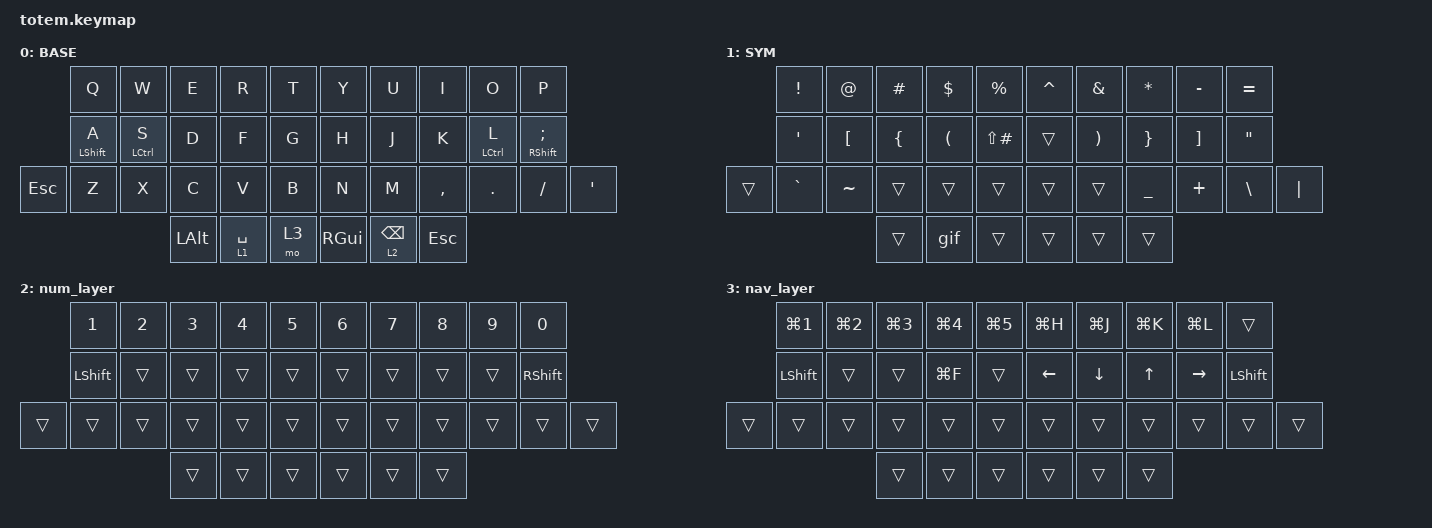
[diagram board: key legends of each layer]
//
//                                                        ▀▀▀▀▀     ▀▀▀▀▀          ▀▀█▀▀
//                                                        ▄▀▀▀▄  ▄  ▄▀▀▀▄  ▄  ▄▀▀▀▄  █  ▄▀▀▀▄
//                                                        █   █  █  █   █  █  █   █  █  █   █
//                                                         ▀▀▀   █   ▀▀▀   █   ▀▀▀   ▀   ▀▀▀
//                                                               █      ▄▄▄█▄▄▄    █   █  
//                                                               ▀      █  █  █     █▄█
//                                                             ▀▀▀▀▀    █  █  █      ▀
//                                                                      ▀  ▀  ▀
//
// ▄▄▄▄▄▄▄▄▄▄▄▄▄▄▄▄▄▄▄▄▄▄▄▄▄▄▄▄▄▄▄▄▄▄▄▄▄▄▄▄▄▄▄▄▄▄▄▄▄▄▄▄▄▄▄▄▄▄▄▄▄▄▄▄▄▄▄▄▄▄▄▄▄▄▄▄▄▄▄▄▄▄▄▄▄▄▄▄▄▄▄▄▄▄▄▄▄▄▄▄▄▄▄▄▄▄▄▄▄▄▄▄▄▄▄▄▄▄▄▄▄▄▄▄▄▄▄▄▄▄▄▄▄▄▄▄▄▄▄▄▄▄▄▄▄▄▄▄▄

#include <behaviors.dtsi>
#include <dt-bindings/zmk/keys.h>

#define BASE 0
#define NAV  1
#define SYM  2
#define ADJ  3
#define TVP1 4
#define TVP2 5

&mt {
    quick-tap-ms = <100>;
    global-quick-tap;
    flavor = "tap-preferred";
    tapping-term-ms = <170>;
};

/ {
    combos {
        compatible = "zmk,combos";

        combo_esc {
            timeout-ms = <50>;
            key-positions = <0 1>;
            bindings = <&kp ESC>;
        };

        return {
            bindings = <&kp RETURN>;
            key-positions = <17 18>;
        };

        backspace {
            bindings = <&kp BACKSPACE>;
            key-positions = <7 8>;
        };

        tab {
            bindings = <&kp TAB>;
            key-positions = <1 2>;
        };
    };

    macros {
        gif: gif {
            label = "giphy";
            compatible = "zmk,behavior-macro";
            #binding-cells = <0>;
            bindings =
                <&macro_press>,
                <&kp LSHFT>,
                <&macro_tap>,
                <&kp N2>,
                <&macro_release>,
                <&kp LSHFT>,
                <&macro_tap>,
                <&kp G &kp I &kp F>;
        };
    };

    keymap {
        compatible = "zmk,keymap";

        // ▄▄▄▄▄▄▄▄▄▄▄▄▄▄▄▄▄▄▄▄▄▄▄▄▄▄▄▄▄▄▄▄▄▄▄▄▄▄▄▄▄▄▄▄▄▄▄▄▄▄▄▄▄▄▄▄▄▄▄▄▄▄▄▄▄▄▄▄▄▄▄▄▄▄▄▄▄▄▄▄▄▄▄▄▄▄▄▄▄▄▄▄▄▄▄▄▄▄▄▄▄▄▄▄▄▄▄▄▄▄▄▄▄▄▄▄▄▄▄▄▄▄▄▄▄▄▄▄▄▄▄▄▄▄▄▄▄▄▄▄▄▄▄▄▄▄▄▄▄

        base_layer {
            // ┏━━━━━━━━━━━━━━━━━━━━━━━━━━━━━━━━━━━━━━━┓

            label = "BASE";

            // ┗━━━━━━━━━━━━━━━━━━━━━━━━━━━━━━━━━━━━━━━┛
            //             ┏━━━━━━━━━━━┳━━━━━━━━━━━┳━━━━━━━━━━━┳━━━━━━━━━━━┳━━━━━━━━━━━┓   ┏━━━━━━━━━━━┳━━━━━━━━━━━┳━━━━━━━━━━━┳━━━━━━━━━━━┳━━━━━━━━━━━┓
            //             ┃     Q     ┃     W     ┃     F     ┃     P     ┃     G     ┃   ┃     J     ┃     L     ┃     U     ┃     Y     ┃     ;     ┃
            //             ┣━━━━━━━━━━━╋━━━━━━━━━━━╋━━━━━━━━━━━╋━━━━━━━━━━━╋━━━━━━━━━━━┫   ┣━━━━━━━━━━━╋━━━━━━━━━━━╋━━━━━━━━━━━╋━━━━━━━━━━━╋━━━━━━━━━━━┫
            //             ┃     A     ┃     R     ┃     S     ┃     T     ┃     D     ┃   ┃     H     ┃     N     ┃     E     ┃     I     ┃     O     ┃
            // ┏━━━━━━━━━━━╋━━━━━━━━━━━╋━━━━━━━━━━━╋━━━━━━━━━━━╋━━━━━━━━━━━╋━━━━━━━━━━━┫   ┣━━━━━━━━━━━╋━━━━━━━━━━━╋━━━━━━━━━━━╋━━━━━━━━━━━╋━━━━━━━━━━━╋━━━━━━━━━━━┓
            // ┃     Q     ┃     Z     ┃     X     ┃     C     ┃     V     ┃     B     ┃   ┃     K     ┃     M     ┃     ,     ┃     .     ┃     /     ┃     \     ┃
            // ┗━━━━━━━━━━━┻━━━━━━━━━━━┻━━━━━━━━━━━╋━━━━━━━━━━━╋━━━━━━━━━━━╋━━━━━━━━━━━┫   ┣━━━━━━━━━━━╋━━━━━━━━━━━╋━━━━━━━━━━━╋━━━━━━━━━━━┻━━━━━━━━━━━┻━━━━━━━━━━━┛
            //                                     ┃    DEL    ┃    TAB    ┃    SPC    ┃   ┃   ENTER   ┃           ┃   BSPC    ┃
            //                                     ┗━━━━━━━━━━━┻━━━━━━━━━━━┻━━━━━━━━━━━┛   ┗━━━━━━━━━━━┻━━━━━━━━━━━┻━━━━━━━━━━━┛

            bindings = <
            &kp Q             &kp W        &kp E     &kp R        &kp T    &kp Y          &kp U            &kp I       &kp O        &kp P
            &mt LEFT_SHIFT A  &mt LCTRL S  &kp D     &kp F        &kp G    &kp H          &kp J            &kp K       &mt LCTRL L  &mt RIGHT_SHIFT SEMICOLON
&kp ESCAPE  &kp Z             &kp X        &kp C     &kp V        &kp B    &kp N          &kp M            &kp COMMA   &kp DOT      &kp FSLH                   &kp SQT
                                           &kp LALT  &lt 1 SPACE  &mo 3    &kp RIGHT_GUI  &lt 2 BACKSPACE  &kp ESCAPE
            >;
        };

        sim_layer {
            // ┏━━━━━━━━━━━━━━━━━━━━━━━━━━━━━━━━━━━━━━━┓

            label = "SYM";

            // ┗━━━━━━━━━━━━━━━━━━━━━━━━━━━━━━━━━━━━━━━┛
            //             ┏━━━━━━━━━━━┳━━━━━━━━━━━┳━━━━━━━━━━━┳━━━━━━━━━━━┳━━━━━━━━━━━┓   ┏━━━━━━━━━━━┳━━━━━━━━━━━┳━━━━━━━━━━━┳━━━━━━━━━━━┳━━━━━━━━━━━┓
            //             ┃     !     ┃     @     ┃     #     ┃     $     ┃     %     ┃   ┃     ˆ     ┃     &     ┃     Ü     ┃     '     ┃     "     ┃
            //             ┣━━━━━━━━━━━╋━━━━━━━━━━━╋━━━━━━━━━━━╋━━━━━━━━━━━╋━━━━━━━━━━━┫   ┣━━━━━━━━━━━╋━━━━━━━━━━━╋━━━━━━━━━━━╋━━━━━━━━━━━╋━━━━━━━━━━━┫
            //             ┃     Ä     ┃           ┃    SZ     ┃           ┃           ┃   ┃   MUTE    ┃   YEN     ┃   EURO    ┃  POUND    ┃     Ö     ┃
            // ┏━━━━━━━━━━━╋━━━━━━━━━━━╋━━━━━━━━━━━╋━━━━━━━━━━━╋━━━━━━━━━━━╋━━━━━━━━━━━┫   ┣━━━━━━━━━━━╋━━━━━━━━━━━╋━━━━━━━━━━━╋━━━━━━━━━━━╋━━━━━━━━━━━╋━━━━━━━━━━━┓
            // ┃           ┃  EMAIL1   ┃  EMAIL2   ┃           ┃           ┃           ┃   ┃   VOL-    ┃   VOL+    ┃   LAST    ┃   NEXT    ┃     \     ┃           ┃
            // ┗━━━━━━━━━━━┻━━━━━━━━━━━┻━━━━━━━━━━━╋━━━━━━━━━━━╋━━━━━━━━━━━╋━━━━━━━━━━━┫   ┣━━━━━━━━━━━╋━━━━━━━━━━━╋━━━━━━━━━━━╋━━━━━━━━━━━┻━━━━━━━━━━━┻━━━━━━━━━━━┛
            //                                     ┃           ┃    GIF    ┃    ADJ    ┃   ┃           ┃           ┃           ┃
            //                                     ┗━━━━━━━━━━━┻━━━━━━━━━━━┻━━━━━━━━━━━┛   ┗━━━━━━━━━━━┻━━━━━━━━━━━┻━━━━━━━━━━━┛

            bindings = <
        &kp EXCL   &kp AT            &kp HASH        &kp DLLR              &kp PRCNT        &kp CARET  &kp AMPS               &kp ASTRK        &kp MINUS          &kp EQUAL
        &kp SQT    &kp LEFT_BRACKET  &kp LEFT_BRACE  &kp LEFT_PARENTHESIS  &kp LS(POUND)    &trans     &kp RIGHT_PARENTHESIS  &kp RIGHT_BRACE  &kp RIGHT_BRACKET  &kp DOUBLE_QUOTES
&trans  &kp GRAVE  &kp TILDE         &trans          &trans                &trans           &trans     &trans                 &kp UNDERSCORE   &kp PLUS           &kp BACKSLASH      &kp PIPE
                                     &trans          &gif                  &trans           &trans     &trans                 &trans
            >;
        };

        num_layer {
            bindings = <
        &kp N1          &kp N2  &kp N3  &kp N4  &kp N5    &kp N6  &kp N7  &kp N8  &kp N9  &kp N0
        &kp LEFT_SHIFT  &trans  &trans  &trans  &trans    &trans  &trans  &trans  &trans  &kp RIGHT_SHIFT
&trans  &trans          &trans  &trans  &trans  &trans    &trans  &trans  &trans  &trans  &trans           &trans
                                &trans  &trans  &trans    &trans  &trans  &trans
            >;
        };

        nav_layer {
            bindings = <
        &kp LG(NUMBER_1)  &kp LG(NUMBER_2)  &kp LG(NUMBER_3)  &kp LG(NUMBER_4)  &kp LG(N5)    &kp LG(H)  &kp LG(J)  &kp LG(K)  &kp LG(L)  &trans
        &kp LEFT_SHIFT    &trans            &trans            &kp LG(F)         &trans        &kp LEFT   &kp DOWN   &kp UP     &kp RIGHT  &kp LEFT_SHIFT
&trans  &trans            &trans            &trans            &trans            &trans        &trans     &trans     &trans     &trans     &trans          &trans
                                            &trans            &trans            &trans        &trans     &trans     &trans
            >;
        };
    };
};
